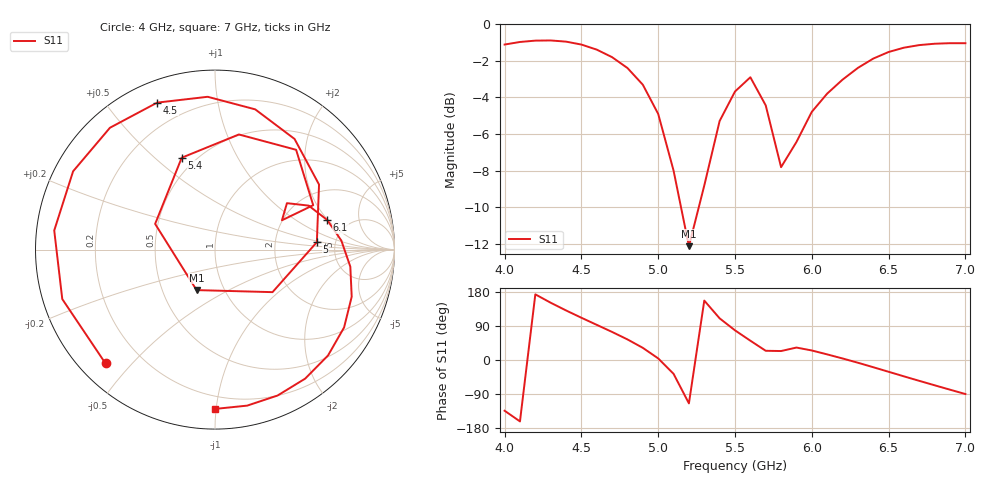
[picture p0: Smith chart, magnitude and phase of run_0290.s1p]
! Touchstone file exported from HFSS 2024.2.0
!  File:  C:/Users/wsak9/Desktop/Sim Fast/Widenad Patch/WP_AI_V1_sweep.aedt
!  Generated:  03:13:30 AM Oct 14, 2026
!  Design:  A1_model
!  Project:  WP_AI_V1_sweep
!  Setup:  Setup1
!  Solution:  Sweep
! Variables:
!  Air_gap = 3.04mm
!  Curve_Amp1 = 3.81
!  Curve_len1 = 1
!  Curve_pos = 10.77mm
!  Extra = 6.61mm
!  H_sub = 0.79mm
!  L_Patch = 17.54mm
!  L_Patch1 = 19.82mm
!  Sx = 1.81mm
!  Sy = 4.58mm
!  WS = 1.24mm
!  W_Patch = 12.03mm
!  W_Patch1 = 13.21mm
!Data is not renormalized
# GHz S MA
! Terminal data exported
! Port[1] = 1
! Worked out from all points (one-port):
!   31 points, 4 GHz to 7 GHz, reference per port
!   lowest |S11| = -12.1 dB at 5.2 GHz (marker M1), VSWR 1.66
!   |S11| at or under -10 dB: 5.149 GHz to 5.264 GHz (115.1 MHz wide, 2.21 % of centre)
!   S11 on the Smith chart (normalised r, x): 4 GHz: 0.08, -0.42; 4.5 GHz: 0.09, +0.68; 5 GHz: 3.58, +0.44; 5.4 GHz: 0.42, +0.61; 6.1 GHz: 3.47, +1.97; 7 GHz: 0.12, -1.00
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4  0.88 -133.9
4.1  0.8944 -162.1
4.2  0.902 173.2
4.3  0.903 151.1
4.4  0.8963 130.8
4.5  0.88 111.5
4.6  0.8523 92.7
4.7  0.8128 74.0
4.8  0.7593 54.3
4.9  0.6836 32.0
5  0.569 4.2
5.1  0.3986 -36.5
5.2  0.2479 -114.5
5.3  0.363 156.8
5.4  0.5444 109.9
5.5  0.6552 78.3
5.6  0.7165 50.9
5.7  0.6005 24.3
5.8  0.4072 23.7
5.9  0.477 32.8
6  0.5766 25.2
6.1  0.6464 14.8
6.3  0.7599 -7.2
6.4  0.8056 -19.0
6.5  0.8398 -31.1
6.7  0.877 -55.1
6.9  0.8876 -78.4
7  0.8874 -89.8
